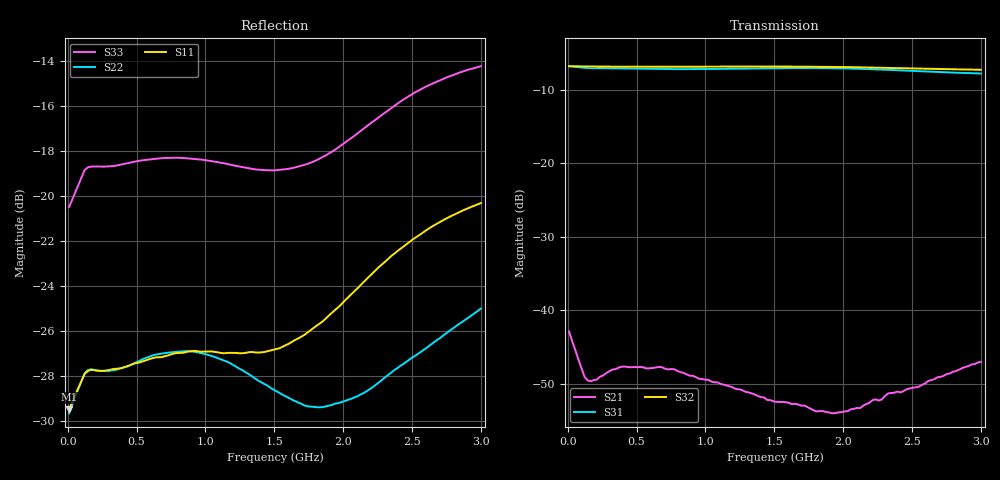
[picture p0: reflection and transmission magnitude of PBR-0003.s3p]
! MARKI MICROWAVE INC.
! Email:  info@markimicrowave.com  Phone:  408-778-4200
! Model Number:  PBR0003  Date:  10/11
! Filename:		PBR-0003.S3P  Version: 1.0
! Description:  3-port S-parameter data for Power Divider PBR0003
! Frequency Range: 	10 MHz to 3 GHz
! Port Configuration:	PORT 1 and 2: Output and Port 3: Common
! S3P File: Measurements: Mag<S11> Ang<S11> Mag<S12> Ang<S12> Mag<S13> Ang<S13>! row 1
!  Mag<S21> Ang<S21> Mag<S22> Ang<S22> Mag<S23> Ang<S23>! row 2
!  Mag<S31> Ang<S31> Mag<S32> Ang<S32> Mag<S33> Ang<S33>! row 3
# Hz S  dB  R 50
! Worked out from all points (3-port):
!   134 points, 10 MHz to 3.001 GHz, reference 50 ohm
!   strongest paths, dB at 10 MHz, 752.1 MHz, 1.517 GHz, 2.259 GHz, 3.001 GHz:
!     S32: -6.8, -6.9, -6.8, -7.0, -7.3
!     S31: -6.8, -7.2, -7.1, -7.2, -7.8
!     S21: -42.9, -48.0, -52.4, -52.3, -47.0
!   lowest |S11| = -29.5 dB at 10 MHz (marker M1), VSWR 1.07, Z = 46.8 + j0.564 ohm
!   |S11| at or under -10 dB: start of sweep to end of sweep
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1e7  -29.49 169.7  -43.48 152.4  -6.79 -2.2
     -42.88 150.0  -29.67 169.7  -6.78 -3.8
     -6.79 -2.1  -6.80 -3.6  -20.49 175.7
1.44925e8  -27.80 176.6  -49.57 143.7  -7.06 -9.0
           -49.52 141.0  -27.75 163.0  -6.84 -14.5
           -7.04 -9.0  -6.83 -14.5  -18.73 176.1
3.922875e8  -27.66 164.1  -47.95 100.3  -7.12 -23.0
            -47.66 101.4  -27.65 126.6  -6.87 -38.6
            -7.10 -23.0  -6.86 -38.6  -18.59 163.4
8.1955e8  -26.98 140.7  -48.53 11.8  -7.20 -46.7
          -48.40 11.5  -26.92 64.5  -6.87 -80.1
          -7.20 -46.7  -6.87 -80.2  -18.30 140.3
1.156862e9  -26.98 123.0  -50.29 -44.2  -7.16 -65.5
            -50.22 -45.2  -27.38 18.3  -6.86 -113.1
            -7.15 -65.5  -6.85 -113.2  -18.57 123.6
1.516662e9  -26.81 112.6  -52.18 -88.9  -7.08 -86.2
            -52.43 -87.4  -28.69 -23.5  -6.85 -148.6
            -7.07 -86.2  -6.84 -148.7  -18.85 111.2
1.831488e9  -25.67 106.0  -53.51 -112.0  -7.06 -105.0
            -53.67 -114.9  -29.41 -54.7  -6.89 -179.8
            -7.06 -105.0  -6.88 -179.9  -18.33 103.3
2.123825e9  -23.99 95.9  -53.45 -123.1  -7.16 -122.6
            -53.29 -122.9  -28.85 -88.2  -6.96 151.3
            -7.15 -122.7  -6.95 151.1  -17.12 93.6
2.573575e9  -21.66 72.3  -50.10 -151.5  -7.50 -148.8
            -50.11 -152.5  -26.91 -158.0  -7.14 107.2
            -7.49 -148.8  -7.12 107.0  -15.22 70.3
3.000838e9  -20.31 47.9  -46.91 172.4  -7.80 -172.1
            -46.98 171.8  -25.01 126.8  -7.31 66.0
            -7.79 -172.2  -7.29 65.8  -14.22 44.4
